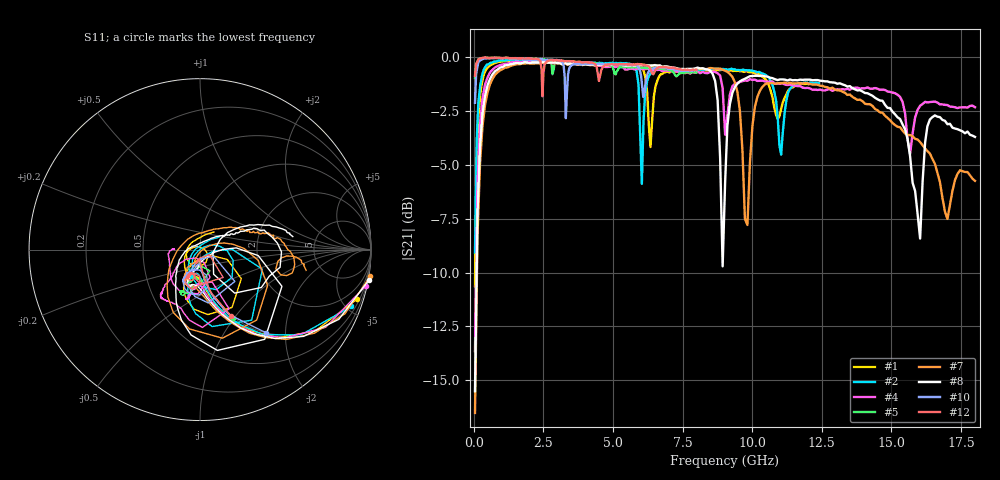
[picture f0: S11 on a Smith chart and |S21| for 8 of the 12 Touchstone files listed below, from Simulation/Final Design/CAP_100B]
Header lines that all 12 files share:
!  American Technical Ceramics  Date:  3/13/98
!  One Norden Lane
!  Huntington Station,  NY.  11746-2102
!  Tel:  (516) 547-5700  Fax:  (516) 547-5748
!  Description: Porcelain, High Q, Low ESR
!  Application: Bypass, Coupling, Timing, Feedback
!  Tuning, Impedance Match, Blocking
# GHZ S DB R 50
! Freq  |S11|  S11 Ph  |S21|  S21 Ph  |S12|  S12 Ph  |S22|  S22 Ph
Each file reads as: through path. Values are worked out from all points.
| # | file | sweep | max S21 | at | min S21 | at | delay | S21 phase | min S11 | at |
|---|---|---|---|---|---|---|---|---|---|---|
| 1 | 100B100F.S2P | 50 MHz to 12.4 GHz | -0.13 dB | 1.35 GHz | -10.6 dB | 50 MHz | 7.98 ps | -25 deg at 6.23 GHz | -36.6 dB | 10.61 GHz |
| 2 | 100B120F.S2P | 50 MHz to 12.4 GHz | -0.11 dB | 1.9 GHz | -9.1 dB | 50 MHz | 7.5 ps | -0 deg at 6.23 GHz | -46.3 dB | 10.42 GHz |
| 3 | 100B820J.S2P | 50 MHz to 8 GHz | 0.01 dB | 490 MHz | -1.4 dB | 2.51 GHz | 5.17 ps | -7 deg at 4.03 GHz | -24.6 dB | 610 MHz |
| 4 | 180R6R8C.S2P | 50 MHz to 18 GHz | -0.19 dB | 2.47 GHz | -13.7 dB | 50 MHz | 1.77 ps | -10 deg at 9.03 GHz | -25.2 dB | 15.4 GHz |
| 5 | 180R680K.S2P | 50 MHz to 8 GHz | -0.01 dB | 490 MHz | -1.0 dB | 50 MHz | - | -2 deg at 4.03 GHz | -23.2 dB | 730 MHz |
| 6 | 700A180J.S2P | 50 MHz to 12.4 GHz | 0.02 dB | 1.59 GHz | -6.0 dB | 50 MHz | 3.35 ps | -2 deg at 6.23 GHz | -49.7 dB | 2.64 GHz |
| 7 | 700B4R7C.S2P | 50 MHz to 18 GHz | -0.24 dB | 2.65 GHz | -16.5 dB | 50 MHz | - | -28 deg at 9.03 GHz | -40.2 dB | 8.67 GHz |
| 8 | 700B5R6B.S2P | 50 MHz to 18 GHz | -0.23 dB | 2.56 GHz | -15.5 dB | 50 MHz | - | 7 deg at 9.03 GHz | -29.5 dB | 11.72 GHz |
| 9 | 700B101G.S2P | 50 MHz to 8 GHz | 0.00 dB | 450 MHz | -1.1 dB | 2.24 GHz | 5.52 ps | -9 deg at 4.03 GHz | -27.8 dB | 2.16 GHz |
| 10 | 700B390J.S2P | 50 MHz to 8 GHz | -0.03 dB | 730 MHz | -2.8 dB | 3.31 GHz | 6.88 ps | -7 deg at 4.03 GHz | -24.6 dB | 3.23 GHz |
| 11 | 700B470F.S2P | 50 MHz to 8 GHz | -0.03 dB | 650 MHz | -2.1 dB | 3.03 GHz | 6.87 ps | -8 deg at 4.03 GHz | -25.2 dB | 2.95 GHz |
| 12 | 700B680F.S2P | 50 MHz to 8 GHz | 0.00 dB | 410 MHz | -1.8 dB | 2.47 GHz | 5.91 ps | -8 deg at 4.03 GHz | -26.2 dB | 2.4 GHz |
